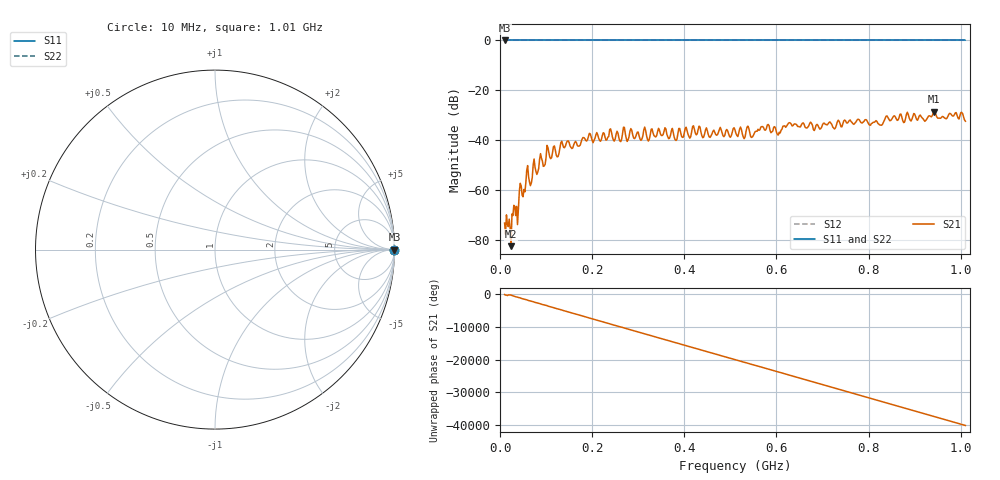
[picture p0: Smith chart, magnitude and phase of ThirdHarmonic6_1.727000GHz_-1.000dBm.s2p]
! 8/16/2025 8:48:04 PM
! C:\ANRITSUVNA\TEMP\TEMP.S2P
! CHANNEL.1
! TR.MEASUREMENT
! RAW.DATA
! RF.CORRECTION.OFF
! AVERAGING.OFF
! IF.BANDWIDTH: 5KHZ
! SWEEPTYPE:  FREQ.SWEEP(Linear)
! Reference Plane Port Info
! PORT:  PORT1  PORT2
! DISTANCE:  0  m  0  m
! TIME:  0  s  0  s
! PHASE.OFFSET:  0  deg.  0  deg.
! LOSS:  0  dB  0  dB
! REF.LOSS:  0  dB  0  dB
! REF.FREQ:  0  Hz  0  Hz
! Power Info
! POWER:  -20  dBm  -20  dBm
! EFF.POWER:  -20  dBm  -20  dBm
! SOURCE.ATTEN:  0  dB  0  dB
! TEST.ATTEN:  0  dB  0  dB
# GHZ S RI R 50.0
! FREQ.GHZ  S11RE  S11IM  S21RE  S21IM  S12RE  S12IM  S22RE  S22IM
!; PortSelection: Port_12
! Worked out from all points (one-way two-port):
!   501 points, 10 MHz to 1.01 GHz, reference 50 ohm
!   highest |S21| = -28.61 dB at 942 MHz (marker M1); lowest = -82.5 dB at 24 MHz (marker M2)
!   lowest |S11| = 0.0 dB at 10 MHz (marker M3)
!   |S11| at or under -10 dB: nowhere
!   |S22| runs from 0.0 to 0.0 dB; largest |S21 - S12| = 1
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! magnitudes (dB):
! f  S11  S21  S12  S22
! 10 MHz  0.0  -73.2  0.0  0.0
! 24 MHz  0.0  -82.5  0.0  0.0
! 36 MHz  0.0  -66.5  0.0  0.0
! 46 MHz  0.0  -58.3  0.0  0.0
! 52 MHz  0.0  -59.7  0.0  0.0
! 58 MHz  0.0  -52.1  0.0  0.0
! 66 MHz  0.0  -58.2  0.0  0.0
! 88 MHz  0.0  -45.4  0.0  0.0
! 178 MHz  0.0  -39.6  0.0  0.0
! 344 MHz  0.0  -35.2  0.0  0.0
! 382 MHz  0.0  -40.1  0.0  0.0
! 420 MHz  0.0  -34.2  0.0  0.0
! 456 MHz  0.0  -38.9  0.0  0.0
! 510 MHz  0.0  -35.9  0.0  0.0
! 548 MHz  0.0  -38.6  0.0  0.0
! 568 MHz  0.0  -34.5  0.0  0.0
! 604 MHz  0.0  -37.9  0.0  0.0
! 628 MHz  0.0  -32.9  0.0  0.0
! 678 MHz  0.0  -33.9  0.0  0.0
! 844 MHz  0.0  -31.6  0.0  0.0
! 942 MHz  0.0  -28.6  0.0  0.0
! 1.01 GHz  0.0  -32.4  0.0  0.0
